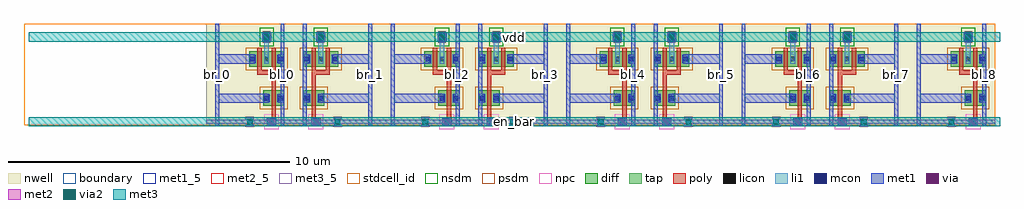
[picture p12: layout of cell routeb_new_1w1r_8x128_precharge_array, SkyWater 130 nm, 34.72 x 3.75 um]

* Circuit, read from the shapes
.subckt routeb_new_1w1r_8x128_precharge_array bl_0 bl_1 bl_2 bl_3 bl_4 bl_5 bl_6 bl_7 bl_8 br_0 br_1 br_2 br_3 br_4 br_5 br_6 br_7 br_8 en_bar vdd
XM1 vdd en_bar br_0 vdd sky130_fd_pr__pfet_01v8 w=0.55 l=0.15
XM2 bl_0 en_bar br_0 vdd sky130_fd_pr__pfet_01v8 w=0.55 l=0.15
XM3 bl_0 en_bar vdd vdd sky130_fd_pr__pfet_01v8 w=0.55 l=0.15
XM4 br_1 en_bar bl_1 vdd sky130_fd_pr__pfet_01v8 w=0.55 l=0.15
XM5 vdd en_bar bl_1 vdd sky130_fd_pr__pfet_01v8 w=0.55 l=0.15
XM6 br_1 en_bar vdd vdd sky130_fd_pr__pfet_01v8 w=0.55 l=0.15
XM7 vdd en_bar br_2 vdd sky130_fd_pr__pfet_01v8 w=0.55 l=0.15
XM8 bl_2 en_bar br_2 vdd sky130_fd_pr__pfet_01v8 w=0.55 l=0.15
XM9 bl_2 en_bar vdd vdd sky130_fd_pr__pfet_01v8 w=0.55 l=0.15
XM10 br_3 en_bar bl_3 vdd sky130_fd_pr__pfet_01v8 w=0.55 l=0.15
XM11 vdd en_bar bl_3 vdd sky130_fd_pr__pfet_01v8 w=0.55 l=0.15
XM12 br_3 en_bar vdd vdd sky130_fd_pr__pfet_01v8 w=0.55 l=0.15
XM13 vdd en_bar br_4 vdd sky130_fd_pr__pfet_01v8 w=0.55 l=0.15
XM14 bl_4 en_bar br_4 vdd sky130_fd_pr__pfet_01v8 w=0.55 l=0.15
XM15 bl_4 en_bar vdd vdd sky130_fd_pr__pfet_01v8 w=0.55 l=0.15
XM16 br_5 en_bar bl_5 vdd sky130_fd_pr__pfet_01v8 w=0.55 l=0.15
XM17 vdd en_bar bl_5 vdd sky130_fd_pr__pfet_01v8 w=0.55 l=0.15
XM18 br_5 en_bar vdd vdd sky130_fd_pr__pfet_01v8 w=0.55 l=0.15
XM19 vdd en_bar br_6 vdd sky130_fd_pr__pfet_01v8 w=0.55 l=0.15
XM20 bl_6 en_bar br_6 vdd sky130_fd_pr__pfet_01v8 w=0.55 l=0.15
XM21 bl_6 en_bar vdd vdd sky130_fd_pr__pfet_01v8 w=0.55 l=0.15
XM22 br_7 en_bar bl_7 vdd sky130_fd_pr__pfet_01v8 w=0.55 l=0.15
XM23 vdd en_bar bl_7 vdd sky130_fd_pr__pfet_01v8 w=0.55 l=0.15
XM24 br_7 en_bar vdd vdd sky130_fd_pr__pfet_01v8 w=0.55 l=0.15
XM25 vdd en_bar br_8 vdd sky130_fd_pr__pfet_01v8 w=0.55 l=0.15
XM26 bl_8 en_bar br_8 vdd sky130_fd_pr__pfet_01v8 w=0.55 l=0.15
XM27 bl_8 en_bar vdd vdd sky130_fd_pr__pfet_01v8 w=0.55 l=0.15
.ends

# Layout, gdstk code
from math import pi, radians
import gdstk
lib = gdstk.Library(unit=1e-6, precision=1e-09)
def R(c, l, rs):  # rectangles x0, y0, x1, y1
    for r in rs: c.add(gdstk.rectangle(r[:2], r[2:], *l))
def A(c, l, x, y, w, h, nx, ny, dx, dy):  # array of equal rectangles
    R(c, l, [(x+i*dx, y+j*dy, x+i*dx+w, y+j*dy+h) for i in range(nx) for j in range(ny)])
nwell = (64, 20)
diff = (65, 20)
tap = (65, 44)
poly = (66, 20)
licon = (66, 44)
li1 = (67, 20)
mcon = (67, 44)
met1_5 = (68, 5)
met1 = (68, 20)
via = (68, 44)
met2_5 = (69, 5)
met2 = (69, 20)
via2 = (69, 44)
met3_5 = (70, 5)
met3 = (70, 20)
stdcell_id = (81, 4)
nsdm = (93, 44)
psdm = (94, 20)
npc = (95, 20)
boundary = (235, 4)

routeb_new_1w1r_8x128_co = lib.new_cell('routeb_new_1w1r_8x128_contact_11')
R(routeb_new_1w1r_8x128_co, nwell, [(-0.295,-0.255,0.545,0.585)])
R(routeb_new_1w1r_8x128_co, diff, [(0,0.02,0.25,0.31)])
R(routeb_new_1w1r_8x128_co, licon, [(0.04,0.08,0.21,0.25)])
R(routeb_new_1w1r_8x128_co, li1, [(0.04,0,0.21,0.33)])
R(routeb_new_1w1r_8x128_co, stdcell_id, [(-0.295,-0.255,0.545,0.585)])
R(routeb_new_1w1r_8x128_co, psdm, [(-0.125,-0.105,0.375,0.435)])
R(routeb_new_1w1r_8x128_co, boundary, [(-0.295,-0.255,0.545,0.585)])

routeb_new_1w1r_8x128_pm = lib.new_cell('routeb_new_1w1r_8x128_pmos_m1_w0_550_sli_dli')
R(routeb_new_1w1r_8x128_pm, nwell, [(-0.27,-0.27,1.02,0.82)])
R(routeb_new_1w1r_8x128_pm, diff, [(0,0,0.75,0.55)])
R(routeb_new_1w1r_8x128_pm, poly, [(0.3,-0.13,0.45,0.68), (0.3,-0.13,0.45,0.68)])
R(routeb_new_1w1r_8x128_pm, li1, [(0.04,0.11,0.21,0.44), (0.54,0.11,0.71,0.44)])
R(routeb_new_1w1r_8x128_pm, stdcell_id, [(-0.27,-0.27,1.02,0.82)])
R(routeb_new_1w1r_8x128_pm, psdm, [(-0.125,-0.125,0.875,0.675)])
R(routeb_new_1w1r_8x128_pm, boundary, [(-0.27,-0.27,1.02,0.82)])
routeb_new_1w1r_8x128_pm.add(gdstk.Reference(routeb_new_1w1r_8x128_co, (0,0.11)))
routeb_new_1w1r_8x128_pm.add(gdstk.Reference(routeb_new_1w1r_8x128_co, (0.5,0.11)))
routeb_new_1w1r_8x128_pm.add(gdstk.Label('G', (0.375,0.275), layer=66, texttype=5))
routeb_new_1w1r_8x128_pm.add(gdstk.Label('S', (0.125,0.275), layer=67, texttype=5))
routeb_new_1w1r_8x128_pm.add(gdstk.Label('D', (0.625,0.275), layer=67, texttype=5))

c_routeb_new_1w1r_8x128_co = lib.new_cell('routeb_new_1w1r_8x128_contact_15')
R(c_routeb_new_1w1r_8x128_co, poly, [(0,0,0.33,0.33)])
R(c_routeb_new_1w1r_8x128_co, licon, [(0.08,0.08,0.25,0.25)])
R(c_routeb_new_1w1r_8x128_co, li1, [(0.08,0,0.25,0.33)])
R(c_routeb_new_1w1r_8x128_co, stdcell_id, [(-0.1,-0.1,0.43,0.43)])
R(c_routeb_new_1w1r_8x128_co, npc, [(-0.1,-0.1,0.43,0.43)])
R(c_routeb_new_1w1r_8x128_co, boundary, [(-0.1,-0.1,0.43,0.43)])

c_routeb_new_1w1r_8x128_co_ = lib.new_cell('routeb_new_1w1r_8x128_contact_13')
R(c_routeb_new_1w1r_8x128_co_, li1, [(0.06,0,0.23,0.33)])
R(c_routeb_new_1w1r_8x128_co_, mcon, [(0.06,0.08,0.23,0.25)])
R(c_routeb_new_1w1r_8x128_co_, met1, [(0,0.05,0.29,0.28)])
R(c_routeb_new_1w1r_8x128_co_, stdcell_id, [(0,0,0.29,0.33)])
R(c_routeb_new_1w1r_8x128_co_, boundary, [(0,0,0.29,0.33)])

c_routeb_new_1w1r_8x128_co__ = lib.new_cell('routeb_new_1w1r_8x128_contact_18')
R(c_routeb_new_1w1r_8x128_co__, met1, [(0,0.03,0.32,0.29)])
R(c_routeb_new_1w1r_8x128_co__, via, [(0.085,0.085,0.235,0.235)])
R(c_routeb_new_1w1r_8x128_co__, met2, [(0.03,0,0.29,0.32)])
R(c_routeb_new_1w1r_8x128_co__, stdcell_id, [(0,0,0.32,0.32)])
R(c_routeb_new_1w1r_8x128_co__, boundary, [(0,0,0.32,0.32)])

c_routeb_new_1w1r_8x128_co___ = lib.new_cell('routeb_new_1w1r_8x128_contact_12')
R(c_routeb_new_1w1r_8x128_co___, nwell, [(-0.295,-0.215,0.545,0.625)])
R(c_routeb_new_1w1r_8x128_co___, tap, [(0,0,0.25,0.41)])
R(c_routeb_new_1w1r_8x128_co___, licon, [(0.04,0.12,0.21,0.29)])
R(c_routeb_new_1w1r_8x128_co___, li1, [(0.04,0.04,0.21,0.37)])
R(c_routeb_new_1w1r_8x128_co___, stdcell_id, [(-0.295,-0.215,0.545,0.625)])
R(c_routeb_new_1w1r_8x128_co___, nsdm, [(-0.125,-0.125,0.375,0.535)])
R(c_routeb_new_1w1r_8x128_co___, boundary, [(-0.295,-0.215,0.545,0.625)])

c_routeb_new_1w1r_8x128_co____ = lib.new_cell('routeb_new_1w1r_8x128_contact_23')
R(c_routeb_new_1w1r_8x128_co____, li1, [(0.03,0,0.2,0.33)])
R(c_routeb_new_1w1r_8x128_co____, mcon, [(0.03,0.08,0.2,0.25)])
R(c_routeb_new_1w1r_8x128_co____, met1, [(0,0.02,0.23,0.31)])
R(c_routeb_new_1w1r_8x128_co____, stdcell_id, [(0,0,0.23,0.33)])
R(c_routeb_new_1w1r_8x128_co____, boundary, [(0,0,0.23,0.33)])

routeb_new_1w1r_8x128_pr = lib.new_cell('routeb_new_1w1r_8x128_precharge_0')
R(routeb_new_1w1r_8x128_pr, nwell, [(0,0,3.12,3.61)])
R(routeb_new_1w1r_8x128_pr, poly, [(0.64,0.05,0.79,0.2), (0.715,0.05,0.79,0.2), (0.64,0.125,0.79,0.56), (0.64,1.37,0.79,1.95), (0.64,1.8,1.29,1.95)])
R(routeb_new_1w1r_8x128_pr, li1, [(0.88,2.355,1.05,3.14), (0.88,3.055,1.05,3.225)])
R(routeb_new_1w1r_8x128_pr, met1_5, [(0.33,0,0.47,3.61), (2.65,0,2.79,3.61)])
R(routeb_new_1w1r_8x128_pr, met1, [(0.63,-0.005,0.95,0.255), (0.33,0,0.47,3.61), (0.33,0,0.47,3.61), (2.65,0,2.79,3.61), (2.65,0,2.79,3.61), (0.4,0.8,0.465,1.13), (0.965,0.8,2.72,1.13), (0.4,2.19,0.465,2.52), (1.465,2.19,2.72,2.52)])
R(routeb_new_1w1r_8x128_pr, met2_5, [(0,0.055,3.12,0.195)])
R(routeb_new_1w1r_8x128_pr, met2, [(0,0.055,3.12,0.195)])
R(routeb_new_1w1r_8x128_pr, stdcell_id, [(0,0,3.12,3.61)])
R(routeb_new_1w1r_8x128_pr, boundary, [(0,0,3.12,3.61)])
routeb_new_1w1r_8x128_pr.add(gdstk.Reference(routeb_new_1w1r_8x128_pm, (0.34,0.69)))
routeb_new_1w1r_8x128_pr.add(gdstk.Reference(routeb_new_1w1r_8x128_pm, (0.34,2.08)))
routeb_new_1w1r_8x128_pr.add(gdstk.Reference(routeb_new_1w1r_8x128_pm, (0.84,2.08)))
routeb_new_1w1r_8x128_pr.add(gdstk.Reference(c_routeb_new_1w1r_8x128_co, (0.625,-0.04)))
routeb_new_1w1r_8x128_pr.add(gdstk.Reference(c_routeb_new_1w1r_8x128_co_, (0.645,-0.04)))
routeb_new_1w1r_8x128_pr.add(gdstk.Reference(c_routeb_new_1w1r_8x128_co__, (0.63,-0.035)))
routeb_new_1w1r_8x128_pr.add(gdstk.Reference(c_routeb_new_1w1r_8x128_co___, (0.84,2.935)))
routeb_new_1w1r_8x128_pr.add(gdstk.Reference(c_routeb_new_1w1r_8x128_co_, (0.82,2.975)))
routeb_new_1w1r_8x128_pr.add(gdstk.Reference(c_routeb_new_1w1r_8x128_co____, (0.35,0.8)))
routeb_new_1w1r_8x128_pr.add(gdstk.Reference(c_routeb_new_1w1r_8x128_co____, (0.85,0.8)))
routeb_new_1w1r_8x128_pr.add(gdstk.Reference(c_routeb_new_1w1r_8x128_co____, (0.35,2.19)))
routeb_new_1w1r_8x128_pr.add(gdstk.Reference(c_routeb_new_1w1r_8x128_co____, (1.35,2.19)))
routeb_new_1w1r_8x128_pr.add(gdstk.Label('en_bar', (1.56,0.125), layer=69, texttype=5))
routeb_new_1w1r_8x128_pr.add(gdstk.Label('vdd', (0.965,3.14), layer=67, texttype=5))
routeb_new_1w1r_8x128_pr.add(gdstk.Label('bl', (0.4,1.805), layer=68, texttype=5))
routeb_new_1w1r_8x128_pr.add(gdstk.Label('br', (2.72,1.805), layer=68, texttype=5))

c_routeb_new_1w1r_8x128_co_____ = lib.new_cell('routeb_new_1w1r_8x128_contact_21')
R(c_routeb_new_1w1r_8x128_co_____, met2, [(0.025,0,0.305,0.37)])
R(c_routeb_new_1w1r_8x128_co_____, via2, [(0.065,0.085,0.265,0.285)])
R(c_routeb_new_1w1r_8x128_co_____, met3, [(0,0.02,0.33,0.35)])
R(c_routeb_new_1w1r_8x128_co_____, stdcell_id, [(0,0,0.33,0.37)])
R(c_routeb_new_1w1r_8x128_co_____, boundary, [(0,0,0.33,0.37)])

c_routeb_new_1w1r_8x128_pr = lib.new_cell('routeb_new_1w1r_8x128_precharge_array')
R(c_routeb_new_1w1r_8x128_pr, met1_5, [(6.805,0,6.945,3.61), (9.125,0,9.265,3.61), (9.925,0,10.065,3.61), (12.245,0,12.385,3.61), (13.045,0,13.185,3.61), (15.365,0,15.505,3.61), (16.165,0,16.305,3.61), (18.485,0,18.625,3.61), (19.285,0,19.425,3.61), (21.605,0,21.745,3.61), (22.405,0,22.545,3.61), (24.725,0,24.865,3.61), (25.525,0,25.665,3.61), (27.845,0,27.985,3.61), (28.645,0,28.785,3.61), (30.965,0,31.105,3.61), (31.765,0,31.905,3.61), (34.085,0,34.225,3.61)])
R(c_routeb_new_1w1r_8x128_pr, met1, [(6.805,0,6.945,3.61), (9.125,0,9.265,3.61), (9.925,0,10.065,3.61), (12.245,0,12.385,3.61), (13.045,0,13.185,3.61), (15.365,0,15.505,3.61), (16.165,0,16.305,3.61), (18.485,0,18.625,3.61), (19.285,0,19.425,3.61), (21.605,0,21.745,3.61), (22.405,0,22.545,3.61), (24.725,0,24.865,3.61), (25.525,0,25.665,3.61), (27.845,0,27.985,3.61), (28.645,0,28.785,3.61), (30.965,0,31.105,3.61), (31.765,0,31.905,3.61), (34.085,0,34.225,3.61), (8.47,3.01,8.79,3.27), (10.4,3.01,10.72,3.27), (14.71,3.01,15.03,3.27), (16.64,3.01,16.96,3.27), (20.95,3.01,21.27,3.27), (22.88,3.01,23.2,3.27), (27.19,3.01,27.51,3.27), (29.12,3.01,29.44,3.27), (33.43,3.01,33.75,3.27)])
A(c_routeb_new_1w1r_8x128_pr, met2, 7.895, 0, 0.28, 0.245, 9, 1, 3.12, 0)
R(c_routeb_new_1w1r_8x128_pr, met2, [(8.49,3.02,8.77,3.265), (10.42,3.02,10.7,3.265), (14.73,3.02,15.01,3.265), (16.66,3.02,16.94,3.265), (20.97,3.02,21.25,3.265), (22.9,3.02,23.18,3.265), (27.21,3.02,27.49,3.265), (29.14,3.02,29.42,3.265), (33.45,3.02,33.73,3.265)])
R(c_routeb_new_1w1r_8x128_pr, met3_5, [(0.165,-0.04,34.72,0.29), (0.165,2.975,34.72,3.305)])
R(c_routeb_new_1w1r_8x128_pr, met3, [(0.165,-0.04,34.72,0.29), (0.165,2.975,34.72,3.305)])
R(c_routeb_new_1w1r_8x128_pr, stdcell_id, [(0,0,34.555,3.61)])
R(c_routeb_new_1w1r_8x128_pr, boundary, [(0,0,34.555,3.61)])
c_routeb_new_1w1r_8x128_pr.add(gdstk.Reference(routeb_new_1w1r_8x128_pr, (9.595,0), rotation=pi, x_reflection=True))
c_routeb_new_1w1r_8x128_pr.add(gdstk.Reference(routeb_new_1w1r_8x128_pr, (9.595,0)))
c_routeb_new_1w1r_8x128_pr.add(gdstk.Reference(routeb_new_1w1r_8x128_pr, (15.835,0), rotation=pi, x_reflection=True))
c_routeb_new_1w1r_8x128_pr.add(gdstk.Reference(routeb_new_1w1r_8x128_pr, (15.835,0)))
c_routeb_new_1w1r_8x128_pr.add(gdstk.Reference(routeb_new_1w1r_8x128_pr, (22.075,0), rotation=pi, x_reflection=True))
c_routeb_new_1w1r_8x128_pr.add(gdstk.Reference(routeb_new_1w1r_8x128_pr, (22.075,0)))
c_routeb_new_1w1r_8x128_pr.add(gdstk.Reference(routeb_new_1w1r_8x128_pr, (28.315,0), rotation=pi, x_reflection=True))
c_routeb_new_1w1r_8x128_pr.add(gdstk.Reference(routeb_new_1w1r_8x128_pr, (28.315,0)))
c_routeb_new_1w1r_8x128_pr.add(gdstk.Reference(routeb_new_1w1r_8x128_pr, (34.555,0), rotation=pi, x_reflection=True))
c_routeb_new_1w1r_8x128_pr.add(gdstk.Reference(c_routeb_new_1w1r_8x128_co_____, (7.87,-0.06)))
c_routeb_new_1w1r_8x128_pr.add(gdstk.Reference(c_routeb_new_1w1r_8x128_co_____, (10.99,-0.06)))
c_routeb_new_1w1r_8x128_pr.add(gdstk.Reference(c_routeb_new_1w1r_8x128_co_____, (14.11,-0.06)))
c_routeb_new_1w1r_8x128_pr.add(gdstk.Reference(c_routeb_new_1w1r_8x128_co_____, (17.23,-0.06)))
c_routeb_new_1w1r_8x128_pr.add(gdstk.Reference(c_routeb_new_1w1r_8x128_co_____, (20.35,-0.06)))
c_routeb_new_1w1r_8x128_pr.add(gdstk.Reference(c_routeb_new_1w1r_8x128_co_____, (23.47,-0.06)))
c_routeb_new_1w1r_8x128_pr.add(gdstk.Reference(c_routeb_new_1w1r_8x128_co_____, (26.59,-0.06)))
c_routeb_new_1w1r_8x128_pr.add(gdstk.Reference(c_routeb_new_1w1r_8x128_co_____, (29.71,-0.06)))
c_routeb_new_1w1r_8x128_pr.add(gdstk.Reference(c_routeb_new_1w1r_8x128_co_____, (32.83,-0.06)))
c_routeb_new_1w1r_8x128_pr.add(gdstk.Reference(c_routeb_new_1w1r_8x128_co_____, (7.87,-0.06)))
c_routeb_new_1w1r_8x128_pr.add(gdstk.Reference(c_routeb_new_1w1r_8x128_co_____, (10.99,-0.06)))
c_routeb_new_1w1r_8x128_pr.add(gdstk.Reference(c_routeb_new_1w1r_8x128_co_____, (14.11,-0.06)))
c_routeb_new_1w1r_8x128_pr.add(gdstk.Reference(c_routeb_new_1w1r_8x128_co_____, (17.23,-0.06)))
c_routeb_new_1w1r_8x128_pr.add(gdstk.Reference(c_routeb_new_1w1r_8x128_co_____, (20.35,-0.06)))
c_routeb_new_1w1r_8x128_pr.add(gdstk.Reference(c_routeb_new_1w1r_8x128_co_____, (23.47,-0.06)))
c_routeb_new_1w1r_8x128_pr.add(gdstk.Reference(c_routeb_new_1w1r_8x128_co_____, (26.59,-0.06)))
c_routeb_new_1w1r_8x128_pr.add(gdstk.Reference(c_routeb_new_1w1r_8x128_co_____, (29.71,-0.06)))
c_routeb_new_1w1r_8x128_pr.add(gdstk.Reference(c_routeb_new_1w1r_8x128_co_____, (32.83,-0.06)))
c_routeb_new_1w1r_8x128_pr.add(gdstk.Reference(c_routeb_new_1w1r_8x128_co_, (8.485,2.975)))
c_routeb_new_1w1r_8x128_pr.add(gdstk.Reference(c_routeb_new_1w1r_8x128_co__, (8.47,2.98)))
c_routeb_new_1w1r_8x128_pr.add(gdstk.Reference(c_routeb_new_1w1r_8x128_co_____, (8.465,2.955)))
c_routeb_new_1w1r_8x128_pr.add(gdstk.Reference(c_routeb_new_1w1r_8x128_co_, (10.415,2.975)))
c_routeb_new_1w1r_8x128_pr.add(gdstk.Reference(c_routeb_new_1w1r_8x128_co__, (10.4,2.98)))
c_routeb_new_1w1r_8x128_pr.add(gdstk.Reference(c_routeb_new_1w1r_8x128_co_____, (10.395,2.955)))
c_routeb_new_1w1r_8x128_pr.add(gdstk.Reference(c_routeb_new_1w1r_8x128_co_, (14.725,2.975)))
c_routeb_new_1w1r_8x128_pr.add(gdstk.Reference(c_routeb_new_1w1r_8x128_co__, (14.71,2.98)))
c_routeb_new_1w1r_8x128_pr.add(gdstk.Reference(c_routeb_new_1w1r_8x128_co_____, (14.705,2.955)))
c_routeb_new_1w1r_8x128_pr.add(gdstk.Reference(c_routeb_new_1w1r_8x128_co_, (16.655,2.975)))
c_routeb_new_1w1r_8x128_pr.add(gdstk.Reference(c_routeb_new_1w1r_8x128_co__, (16.64,2.98)))
c_routeb_new_1w1r_8x128_pr.add(gdstk.Reference(c_routeb_new_1w1r_8x128_co_____, (16.635,2.955)))
c_routeb_new_1w1r_8x128_pr.add(gdstk.Reference(c_routeb_new_1w1r_8x128_co_, (20.965,2.975)))
c_routeb_new_1w1r_8x128_pr.add(gdstk.Reference(c_routeb_new_1w1r_8x128_co__, (20.95,2.98)))
c_routeb_new_1w1r_8x128_pr.add(gdstk.Reference(c_routeb_new_1w1r_8x128_co_____, (20.945,2.955)))
c_routeb_new_1w1r_8x128_pr.add(gdstk.Reference(c_routeb_new_1w1r_8x128_co_, (22.895,2.975)))
c_routeb_new_1w1r_8x128_pr.add(gdstk.Reference(c_routeb_new_1w1r_8x128_co__, (22.88,2.98)))
c_routeb_new_1w1r_8x128_pr.add(gdstk.Reference(c_routeb_new_1w1r_8x128_co_____, (22.875,2.955)))
c_routeb_new_1w1r_8x128_pr.add(gdstk.Reference(c_routeb_new_1w1r_8x128_co_, (27.205,2.975)))
c_routeb_new_1w1r_8x128_pr.add(gdstk.Reference(c_routeb_new_1w1r_8x128_co__, (27.19,2.98)))
c_routeb_new_1w1r_8x128_pr.add(gdstk.Reference(c_routeb_new_1w1r_8x128_co_____, (27.185,2.955)))
c_routeb_new_1w1r_8x128_pr.add(gdstk.Reference(c_routeb_new_1w1r_8x128_co_, (29.135,2.975)))
c_routeb_new_1w1r_8x128_pr.add(gdstk.Reference(c_routeb_new_1w1r_8x128_co__, (29.12,2.98)))
c_routeb_new_1w1r_8x128_pr.add(gdstk.Reference(c_routeb_new_1w1r_8x128_co_____, (29.115,2.955)))
c_routeb_new_1w1r_8x128_pr.add(gdstk.Reference(c_routeb_new_1w1r_8x128_co_, (33.445,2.975)))
c_routeb_new_1w1r_8x128_pr.add(gdstk.Reference(c_routeb_new_1w1r_8x128_co__, (33.43,2.98)))
c_routeb_new_1w1r_8x128_pr.add(gdstk.Reference(c_routeb_new_1w1r_8x128_co_____, (33.425,2.955)))
c_routeb_new_1w1r_8x128_pr.add(gdstk.Label('en_bar', (17.442,0.125), layer=70, texttype=5))
c_routeb_new_1w1r_8x128_pr.add(gdstk.Label('bl_0', (9.195,1.805), layer=68, texttype=5))
c_routeb_new_1w1r_8x128_pr.add(gdstk.Label('br_0', (6.875,1.805), layer=68, texttype=5))
c_routeb_new_1w1r_8x128_pr.add(gdstk.Label('bl_1', (9.995,1.805), layer=68, texttype=5))
c_routeb_new_1w1r_8x128_pr.add(gdstk.Label('br_1', (12.315,1.805), layer=68, texttype=5))
c_routeb_new_1w1r_8x128_pr.add(gdstk.Label('bl_2', (15.435,1.805), layer=68, texttype=5))
c_routeb_new_1w1r_8x128_pr.add(gdstk.Label('br_2', (13.115,1.805), layer=68, texttype=5))
c_routeb_new_1w1r_8x128_pr.add(gdstk.Label('bl_3', (16.235,1.805), layer=68, texttype=5))
c_routeb_new_1w1r_8x128_pr.add(gdstk.Label('br_3', (18.555,1.805), layer=68, texttype=5))
c_routeb_new_1w1r_8x128_pr.add(gdstk.Label('bl_4', (21.675,1.805), layer=68, texttype=5))
c_routeb_new_1w1r_8x128_pr.add(gdstk.Label('br_4', (19.355,1.805), layer=68, texttype=5))
c_routeb_new_1w1r_8x128_pr.add(gdstk.Label('bl_5', (22.475,1.805), layer=68, texttype=5))
c_routeb_new_1w1r_8x128_pr.add(gdstk.Label('br_5', (24.795,1.805), layer=68, texttype=5))
c_routeb_new_1w1r_8x128_pr.add(gdstk.Label('bl_6', (27.915,1.805), layer=68, texttype=5))
c_routeb_new_1w1r_8x128_pr.add(gdstk.Label('br_6', (25.595,1.805), layer=68, texttype=5))
c_routeb_new_1w1r_8x128_pr.add(gdstk.Label('bl_7', (28.715,1.805), layer=68, texttype=5))
c_routeb_new_1w1r_8x128_pr.add(gdstk.Label('br_7', (31.035,1.805), layer=68, texttype=5))
c_routeb_new_1w1r_8x128_pr.add(gdstk.Label('bl_8', (34.155,1.805), layer=68, texttype=5))
c_routeb_new_1w1r_8x128_pr.add(gdstk.Label('br_8', (31.835,1.805), layer=68, texttype=5))
c_routeb_new_1w1r_8x128_pr.add(gdstk.Label('vdd', (17.442,3.14), layer=70, texttype=5))

lib.write_gds('routeb_new_1w1r_8x128_precharge_array.gds')
